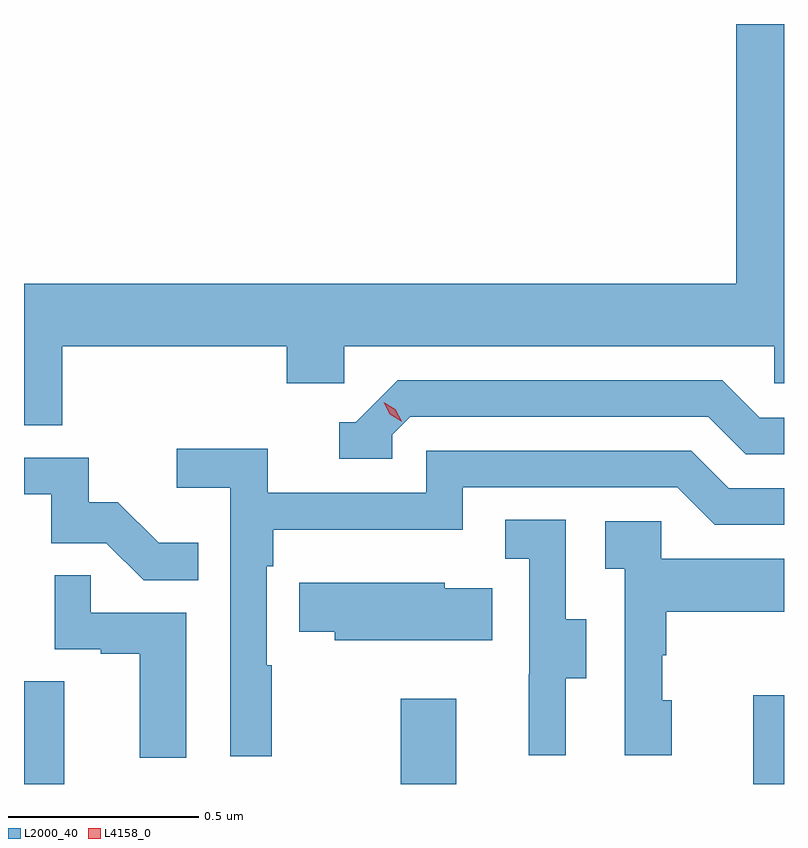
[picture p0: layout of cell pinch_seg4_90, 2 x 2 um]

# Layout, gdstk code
import gdstk
lib = gdstk.Library(unit=1e-6, precision=1e-09)
def R(c, l, rs):  # rectangles x0, y0, x1, y1
    for r in rs: c.add(gdstk.rectangle(r[:2], r[2:], *l))
def P(c, l, *ps):  # polygons
    for p in ps: c.add(gdstk.Polygon(p, *l))
L2000_40 = (2000, 40)
L4158_0 = (4158, 0)

pinch_seg4_90 = lib.new_cell('pinch_seg4_90')
R(pinch_seg4_90, L2000_40, [(1072.371,816.98,1072.477,817.25), (1073.362,816.98,1073.509,817.204), (1074.29,816.98,1074.371,817.213)])
P(pinch_seg4_90, L2000_40, [(1072.472,818.132),(1073.063,818.132),(1073.063,818.034),(1073.214,818.034),(1073.214,818.132),(1074.345,818.132),(1074.345,818.034),(1074.371,818.034),(1074.371,818.98),(1074.245,818.98),(1074.245,818.296),(1072.371,818.296),(1072.371,817.924),(1072.472,817.924)],
  [(1073.34,817.899),(1073.388,817.947),(1074.171,817.947),(1074.27,817.848),(1074.371,817.848),(1074.371,817.944),(1074.307,817.944),(1074.208,818.043),(1073.355,818.043),(1073.244,817.932),(1073.201,817.932),(1073.201,817.836),(1073.34,817.836)],
  [(1073.023,817.292),(1073.01,817.292),(1073.01,817.553),(1073.027,817.553),(1073.027,817.649),(1073.526,817.649),(1073.526,817.761),(1074.09,817.761),(1074.189,817.662),(1074.371,817.662),(1074.371,817.758),(1074.226,817.758),(1074.127,817.857),(1073.43,817.857),(1073.43,817.746),(1073.012,817.746),(1073.012,817.862),(1072.773,817.862),(1072.773,817.76),(1072.914,817.76),(1072.914,817.053),(1073.023,817.053)],
  [(1072.829,817.615),(1072.725,817.615),(1072.618,817.722),(1072.542,817.722),(1072.542,817.839),(1072.371,817.839),(1072.371,817.743),(1072.443,817.743),(1072.443,817.614),(1072.588,817.614),(1072.686,817.516),(1072.829,817.516)],
  [(1073.797,817.258),(1073.851,817.258),(1073.851,817.413),(1073.796,817.413),(1073.796,817.676),(1073.637,817.676),(1073.637,817.573),(1073.7,817.573),(1073.7,817.269),(1073.699,817.269),(1073.699,817.056),(1073.797,817.056)],
  [(1074.076,817.2),(1074.051,817.2),(1074.051,817.319),(1074.061,817.319),(1074.061,817.433),(1074.371,817.433),(1074.371,817.573),(1074.048,817.573),(1074.048,817.671),(1073.901,817.671),(1073.901,817.547),(1073.952,817.547),(1073.952,817.056),(1074.076,817.056)],
  [(1072.798,817.431),(1072.547,817.431),(1072.547,817.529),(1072.452,817.529),(1072.452,817.335),(1072.573,817.335),(1072.573,817.323),(1072.676,817.323),(1072.676,817.049),(1072.798,817.049)],
  [(1073.603,817.495),(1073.478,817.495),(1073.478,817.51),(1073.206,817.51),(1073.206,817.509),(1073.095,817.509),(1073.095,817.381),(1073.189,817.381),(1073.189,817.358),(1073.603,817.358)])
P(pinch_seg4_90, L4158_0, [(1073.364,817.934),(1073.334,817.953),(1073.318,817.985),(1073.318,817.985),(1073.318,817.985),(1073.348,817.966),(1073.365,817.934),(1073.365,817.934)])

lib.write_gds('pinch_seg4_90.gds')
